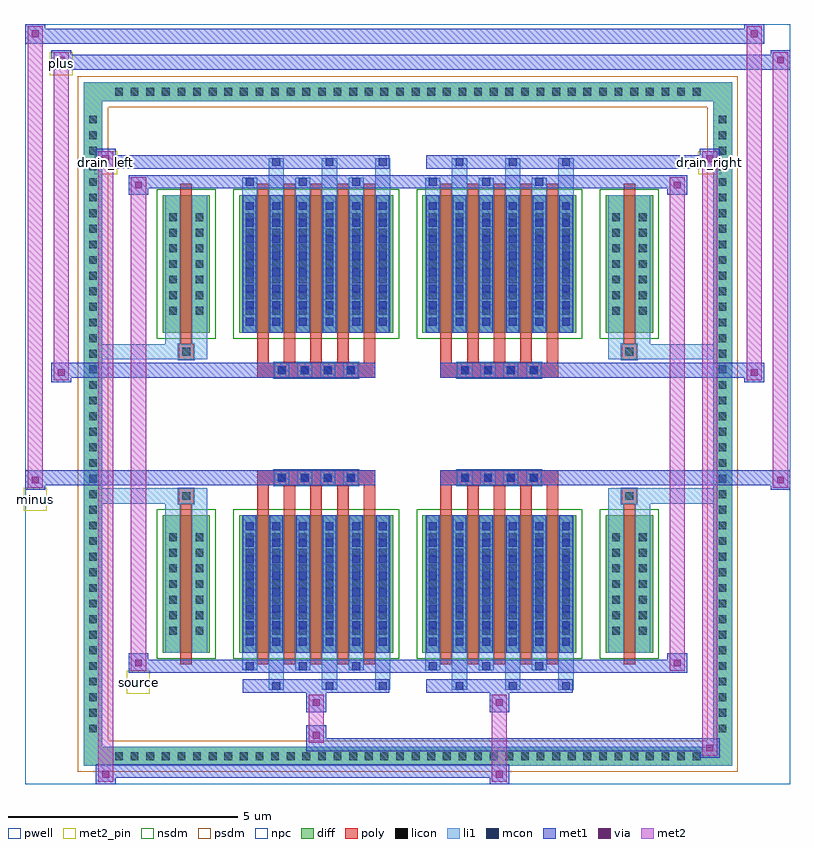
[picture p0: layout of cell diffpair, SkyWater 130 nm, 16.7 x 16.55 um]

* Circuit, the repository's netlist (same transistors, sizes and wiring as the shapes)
* NGSPICE file created from diffpair.ext - technology: sky130A

.subckt diffpair minus drain_right drain_left source plus
X0 source plus drain_left a_n1412_n1488# sky130_fd_pr__nfet_01v8 ad=0.495 pd=3.33 as=0.495 ps=3.33 w=3 l=0.25
X1 source plus drain_left a_n1412_n1488# sky130_fd_pr__nfet_01v8 ad=0.495 pd=3.33 as=0.495 ps=3.33 w=3 l=0.25
X2 source minus drain_right a_n1412_n1488# sky130_fd_pr__nfet_01v8 ad=0.495 pd=3.33 as=0.495 ps=3.33 w=3 l=0.25
X3 source minus drain_right a_n1412_n1488# sky130_fd_pr__nfet_01v8 ad=0.495 pd=3.33 as=0.495 ps=3.33 w=3 l=0.25
X4 drain_left plus source a_n1412_n1488# sky130_fd_pr__nfet_01v8 ad=1.17 pd=6.78 as=0.495 ps=3.33 w=3 l=0.25
X5 source plus drain_left a_n1412_n1488# sky130_fd_pr__nfet_01v8 ad=0.495 pd=3.33 as=0.495 ps=3.33 w=3 l=0.25
X6 a_n1412_n1488# a_n1412_n1488# a_n1412_n1488# a_n1412_n1488# sky130_fd_pr__nfet_01v8 ad=1.17 pd=6.78 as=9.36 ps=54.24 w=3 l=0.25
X7 drain_left plus source a_n1412_n1488# sky130_fd_pr__nfet_01v8 ad=1.17 pd=6.78 as=0.495 ps=3.33 w=3 l=0.25
X8 drain_left plus source a_n1412_n1488# sky130_fd_pr__nfet_01v8 ad=0.495 pd=3.33 as=1.17 ps=6.78 w=3 l=0.25
X9 drain_left plus source a_n1412_n1488# sky130_fd_pr__nfet_01v8 ad=0.495 pd=3.33 as=0.495 ps=3.33 w=3 l=0.25
X10 drain_left plus source a_n1412_n1488# sky130_fd_pr__nfet_01v8 ad=0.495 pd=3.33 as=1.17 ps=6.78 w=3 l=0.25
X11 drain_left plus source a_n1412_n1488# sky130_fd_pr__nfet_01v8 ad=0.495 pd=3.33 as=0.495 ps=3.33 w=3 l=0.25
X12 a_n1412_n1488# a_n1412_n1488# a_n1412_n1488# a_n1412_n1488# sky130_fd_pr__nfet_01v8 ad=1.17 pd=6.78 as=0 ps=0 w=3 l=0.25
X13 source plus drain_left a_n1412_n1488# sky130_fd_pr__nfet_01v8 ad=0.495 pd=3.33 as=0.495 ps=3.33 w=3 l=0.25
X14 drain_right minus source a_n1412_n1488# sky130_fd_pr__nfet_01v8 ad=0.495 pd=3.33 as=0.495 ps=3.33 w=3 l=0.25
X15 drain_right minus source a_n1412_n1488# sky130_fd_pr__nfet_01v8 ad=0.495 pd=3.33 as=1.17 ps=6.78 w=3 l=0.25
X16 source minus drain_right a_n1412_n1488# sky130_fd_pr__nfet_01v8 ad=0.495 pd=3.33 as=0.495 ps=3.33 w=3 l=0.25
X17 source minus drain_right a_n1412_n1488# sky130_fd_pr__nfet_01v8 ad=0.495 pd=3.33 as=0.495 ps=3.33 w=3 l=0.25
X18 drain_right minus source a_n1412_n1488# sky130_fd_pr__nfet_01v8 ad=0.495 pd=3.33 as=0.495 ps=3.33 w=3 l=0.25
X19 drain_right minus source a_n1412_n1488# sky130_fd_pr__nfet_01v8 ad=1.17 pd=6.78 as=0.495 ps=3.33 w=3 l=0.25
X20 a_n1412_n1488# a_n1412_n1488# a_n1412_n1488# a_n1412_n1488# sky130_fd_pr__nfet_01v8 ad=1.17 pd=6.78 as=0 ps=0 w=3 l=0.25
X21 a_n1412_n1488# a_n1412_n1488# a_n1412_n1488# a_n1412_n1488# sky130_fd_pr__nfet_01v8 ad=1.17 pd=6.78 as=0 ps=0 w=3 l=0.25
X22 drain_right minus source a_n1412_n1488# sky130_fd_pr__nfet_01v8 ad=0.495 pd=3.33 as=1.17 ps=6.78 w=3 l=0.25
X23 drain_right minus source a_n1412_n1488# sky130_fd_pr__nfet_01v8 ad=1.17 pd=6.78 as=0.495 ps=3.33 w=3 l=0.25
.ends

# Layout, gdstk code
import gdstk
lib = gdstk.Library(unit=1e-6, precision=5e-09)
def R(c, l, rs):  # rectangles x0, y0, x1, y1
    for r in rs: c.add(gdstk.rectangle(r[:2], r[2:], *l))
def A(c, l, x, y, w, h, nx, ny, dx, dy):  # array of equal rectangles
    R(c, l, [(x+i*dx, y+j*dy, x+i*dx+w, y+j*dy+h) for i in range(nx) for j in range(ny)])
def P(c, l, *ps):  # polygons
    for p in ps: c.add(gdstk.Polygon(p, *l))
pwell = (64, 44)
diff = (65, 20)
poly = (66, 20)
licon = (66, 44)
li1 = (67, 20)
mcon = (67, 44)
met1 = (68, 20)
via = (68, 44)
met2_pin = (69, 16)
met2 = (69, 20)
nsdm = (93, 44)
psdm = (94, 20)
npc = (95, 20)

diffpair = lib.new_cell('diffpair')
R(diffpair, pwell, [(-8.33,-7.84,8.33,8.71), (-5.65,-6.03,-0.01,-0.805), (0.01,-6.03,5.65,-0.805), (-5.65,0.805,-0.01,6.03), (0.01,0.805,5.65,6.03)])
A(diffpair, diff, -6.495, -7.44, 0.41, 0.41, 38, 2, 0.34, 14.47)
A(diffpair, diff, -7.06, -6.835, 0.41, 0.41, 1, 40, 0, 0.34)
A(diffpair, diff, 6.65, -6.835, 0.41, 0.41, 1, 40, 0, 0.34)
R(diffpair, diff, [(-6.495,-7.44,6.495,-7.03), (-7.06,-6.835,-6.65,6.835), (6.65,-6.835,7.06,6.835), (-5.34,-4.985,-4.31,-1.985), (-3.67,-4.985,-0.32,-1.985), (0.32,-4.985,3.67,-1.985), (4.31,-4.985,5.34,-1.985), (-5.34,1.985,-4.31,4.985), (-3.67,1.985,-0.32,4.985), (0.32,1.985,3.67,4.985), (4.31,1.985,5.34,4.985), (-6.495,7.03,6.495,7.44)])
P(diffpair, diff, [(7.06,7.44),(-7.06,7.44),(-7.06,-7.03),(-6.65,-7.03),(-6.65,7.03),(6.65,7.03),(6.65,-7.03),(-6.65,-7.03),(-7.06,-7.03),(-7.06,-7.44),(7.06,-7.44)])
A(diffpair, poly, -3.28, -5.235, 0.25, 3.5, 5, 2, 0.58, 6.97)
A(diffpair, poly, 0.71, -5.235, 0.25, 3.5, 5, 2, 0.58, 6.97)
A(diffpair, poly, -3.28, -1.735, 0.25, 0.4, 5, 2, 0.58, 3.07)
A(diffpair, poly, 0.71, -1.735, 0.25, 0.4, 5, 2, 0.58, 3.07)
A(diffpair, poly, -2.91, -1.335, 0.33, 0.33, 4, 2, 0.5, 2.34)
A(diffpair, poly, 1.08, -1.335, 0.33, 0.33, 4, 2, 0.5, 2.34)
R(diffpair, poly, [(-4.95,-5.235,-4.7,-1.735), (4.7,-5.235,4.95,-1.735), (-4.99,-1.735,-4.66,-1.405), (-4.99,-1.735,-4.66,-1.405), (4.66,-1.735,4.99,-1.405), (4.66,-1.735,4.99,-1.405), (-3.28,-1.335,-0.71,-1.005), (0.71,-1.335,3.28,-1.005), (-3.28,1.005,-0.71,1.335), (0.71,1.005,3.28,1.335), (-4.99,1.405,-4.66,1.735), (-4.99,1.405,-4.66,1.735), (4.66,1.405,4.99,1.735), (4.66,1.405,4.99,1.735), (-4.95,1.735,-4.7,5.235), (4.7,1.735,4.95,5.235)])
A(diffpair, licon, -6.375, -7.32, 0.17, 0.17, 38, 2, 0.34, 14.47)
A(diffpair, licon, -6.94, -6.715, 0.17, 0.17, 1, 40, 0, 0.34)
A(diffpair, licon, 6.77, -6.715, 0.17, 0.17, 1, 40, 0, 0.34)
A(diffpair, licon, -5.2, -4.59, 0.17, 0.17, 1, 7, 0, 0.34)
A(diffpair, licon, -4.62, -4.59, 0.17, 0.17, 1, 7, 0, 0.34)
A(diffpair, licon, -3.53, -4.59, 0.17, 0.17, 6, 7, 0.58, 0.34)
A(diffpair, licon, 0.46, -4.59, 0.17, 0.17, 6, 7, 0.58, 0.34)
A(diffpair, licon, 4.45, -4.59, 0.17, 0.17, 1, 7, 0, 0.34)
A(diffpair, licon, 5.03, -4.59, 0.17, 0.17, 1, 7, 0, 0.34)
A(diffpair, licon, -2.83, -1.255, 0.17, 0.17, 4, 2, 0.5, 2.34)
A(diffpair, licon, 1.16, -1.255, 0.17, 0.17, 4, 2, 0.5, 2.34)
A(diffpair, licon, -5.2, 2.38, 0.17, 0.17, 1, 7, 0, 0.34)
A(diffpair, licon, -4.62, 2.38, 0.17, 0.17, 1, 7, 0, 0.34)
A(diffpair, licon, -3.53, 2.38, 0.17, 0.17, 6, 7, 0.58, 0.34)
A(diffpair, licon, 0.46, 2.38, 0.17, 0.17, 6, 7, 0.58, 0.34)
A(diffpair, licon, 4.45, 2.38, 0.17, 0.17, 1, 7, 0, 0.34)
A(diffpair, licon, 5.03, 2.38, 0.17, 0.17, 1, 7, 0, 0.34)
R(diffpair, licon, [(-4.91,-1.655,-4.74,-1.485), (4.74,-1.655,4.91,-1.485), (-4.91,1.485,-4.74,1.655), (4.74,1.485,4.91,1.655)])
A(diffpair, li1, -6.455, -7.4, 0.33, 0.33, 38, 2, 0.34, 14.47)
A(diffpair, li1, -7.02, -6.795, 0.33, 0.33, 1, 40, 0, 0.34)
A(diffpair, li1, 6.69, -6.795, 0.33, 0.33, 1, 40, 0, 0.34)
A(diffpair, li1, -3.03, -5.79, 0.33, 0.805, 3, 2, 1.16, 10.775)
A(diffpair, li1, -2.95, -5.79, 0.17, 0.17, 3, 2, 1.16, 11.41)
A(diffpair, li1, 0.96, -5.79, 0.33, 0.805, 3, 2, 1.16, 10.775)
A(diffpair, li1, 1.04, -5.79, 0.17, 0.17, 3, 2, 1.16, 11.41)
A(diffpair, li1, -3.61, -5.36, 0.33, 0.375, 3, 2, 1.16, 10.345)
A(diffpair, li1, -3.53, -5.36, 0.17, 0.17, 3, 2, 1.16, 10.55)
A(diffpair, li1, 0.38, -5.36, 0.33, 0.375, 3, 2, 1.16, 10.345)
A(diffpair, li1, 0.46, -5.36, 0.17, 0.17, 3, 2, 1.16, 10.55)
A(diffpair, li1, -3.61, -4.985, 0.33, 3, 6, 2, 0.58, 6.97)
A(diffpair, li1, 0.38, -4.985, 0.33, 3, 6, 2, 0.58, 6.97)
A(diffpair, li1, -3.53, -4.83, 0.17, 0.17, 6, 8, 0.58, 0.36)
A(diffpair, li1, -3.53, -4.83, 0.17, 2.69, 6, 2, 0.58, 6.97)
A(diffpair, li1, 0.46, -4.83, 0.17, 0.17, 6, 8, 0.58, 0.36)
A(diffpair, li1, 0.46, -4.83, 0.17, 2.69, 6, 2, 0.58, 6.97)
A(diffpair, li1, -5.28, -4.67, 0.33, 0.33, 1, 7, 0, 0.34)
A(diffpair, li1, -4.7, -4.67, 0.33, 0.33, 1, 7, 0, 0.34)
A(diffpair, li1, -3.61, -4.67, 0.33, 0.33, 6, 7, 0.58, 0.34)
A(diffpair, li1, 0.38, -4.67, 0.33, 0.33, 6, 7, 0.58, 0.34)
A(diffpair, li1, 4.37, -4.67, 0.33, 0.33, 1, 7, 0, 0.34)
A(diffpair, li1, 4.95, -4.67, 0.33, 0.33, 1, 7, 0, 0.34)
A(diffpair, li1, -2.91, -1.335, 0.33, 0.33, 4, 2, 0.5, 2.34)
A(diffpair, li1, 1.08, -1.335, 0.33, 0.33, 4, 2, 0.5, 2.34)
A(diffpair, li1, -3.53, 2.14, 0.17, 0.17, 6, 8, 0.58, 0.36)
A(diffpair, li1, 0.46, 2.14, 0.17, 0.17, 6, 8, 0.58, 0.36)
A(diffpair, li1, -5.28, 2.3, 0.33, 0.33, 1, 7, 0, 0.34)
A(diffpair, li1, -4.7, 2.3, 0.33, 0.33, 1, 7, 0, 0.34)
A(diffpair, li1, -3.61, 2.3, 0.33, 0.33, 6, 7, 0.58, 0.34)
A(diffpair, li1, 0.38, 2.3, 0.33, 0.33, 6, 7, 0.58, 0.34)
A(diffpair, li1, 4.37, 2.3, 0.33, 0.33, 1, 7, 0, 0.34)
A(diffpair, li1, 4.95, 2.3, 0.33, 0.33, 1, 7, 0, 0.34)
R(diffpair, li1, [(-7.06,-7.44,-6.65,-7.03), (-7.06,-7.44,-6.65,-7.03), (-6.65,-7.44,6.65,-7.03), (6.65,-7.44,7.06,-7.03), (6.65,-7.44,7.06,-7.03), (-7.06,-7.03,-6.65,7.03), (6.65,-7.03,7.06,7.03), (-5.28,-4.985,-4.95,-1.985), (-4.7,-4.985,-4.37,-1.985), (4.37,-4.985,4.7,-1.985), (4.95,-4.985,5.28,-1.985), (-5.28,-1.985,-4.95,-1.405), (-4.7,-1.985,-4.37,-1.405), (4.37,-1.985,4.7,-1.405), (4.95,-1.985,5.28,-1.405), (-7.06,-1.735,-4.99,-1.405), (-5.28,-1.735,-4.99,-1.405), (-4.99,-1.735,-4.66,-1.405), (-4.66,-1.735,-4.37,-1.405), (4.37,-1.735,4.66,-1.405), (4.66,-1.735,4.99,-1.405), (4.66,-1.735,7.06,-1.405), (4.99,-1.735,5.28,-1.405), (-7.06,1.405,-4.99,1.735), (-5.28,1.405,-4.99,1.735), (-5.28,1.405,-4.95,1.985), (-4.99,1.405,-4.66,1.735), (-4.7,1.405,-4.37,1.985), (-4.66,1.405,-4.37,1.735), (4.37,1.405,4.66,1.735), (4.37,1.405,4.7,1.985), (4.66,1.405,4.99,1.735), (4.66,1.405,7.06,1.735), (4.95,1.405,5.28,1.985), (4.99,1.405,5.28,1.735), (-5.28,1.985,-4.95,4.985), (-4.7,1.985,-4.37,4.985), (4.37,1.985,4.7,4.985), (4.95,1.985,5.28,4.985), (-7.06,7.03,-6.65,7.44), (-7.06,7.03,-6.65,7.44), (-6.65,7.03,6.65,7.44), (6.65,7.03,7.06,7.44), (6.65,7.03,7.06,7.44)])
A(diffpair, mcon, -2.95, -5.79, 0.17, 0.17, 3, 2, 1.16, 11.41)
A(diffpair, mcon, 1.04, -5.79, 0.17, 0.17, 3, 2, 1.16, 11.41)
A(diffpair, mcon, -3.53, -5.36, 0.17, 0.17, 3, 2, 1.16, 10.55)
A(diffpair, mcon, 0.46, -5.36, 0.17, 0.17, 3, 2, 1.16, 10.55)
A(diffpair, mcon, -3.53, -4.83, 0.17, 0.17, 6, 8, 0.58, 0.36)
A(diffpair, mcon, 0.46, -4.83, 0.17, 0.17, 6, 8, 0.58, 0.36)
A(diffpair, mcon, -2.83, -1.255, 0.17, 0.17, 4, 2, 0.5, 2.34)
A(diffpair, mcon, 1.16, -1.255, 0.17, 0.17, 4, 2, 0.5, 2.34)
A(diffpair, mcon, -3.53, 2.14, 0.17, 0.17, 6, 8, 0.58, 0.36)
A(diffpair, mcon, 0.46, 2.14, 0.17, 0.17, 6, 8, 0.58, 0.36)
A(diffpair, met1, -3.01, -5.85, 0.29, 0.29, 3, 2, 1.16, 11.41)
A(diffpair, met1, 0.98, -5.85, 0.29, 0.29, 3, 2, 1.16, 11.41)
A(diffpair, met1, -3.59, -5.42, 0.29, 0.29, 3, 2, 1.16, 10.55)
A(diffpair, met1, 0.4, -5.42, 0.29, 0.29, 3, 2, 1.16, 10.55)
A(diffpair, met1, -3.59, -4.985, 0.29, 3, 6, 2, 0.58, 6.97)
A(diffpair, met1, 0.4, -4.985, 0.29, 3, 6, 2, 0.58, 6.97)
A(diffpair, met1, -3.59, -4.89, 0.29, 0.29, 6, 8, 0.58, 0.36)
A(diffpair, met1, 0.4, -4.89, 0.29, 0.29, 6, 8, 0.58, 0.36)
A(diffpair, met1, -2.89, -1.315, 0.29, 0.29, 4, 2, 0.5, 2.34)
A(diffpair, met1, 1.1, -1.315, 0.29, 0.29, 4, 2, 0.5, 2.34)
A(diffpair, met1, -3.59, 2.08, 0.29, 0.29, 6, 8, 0.58, 0.36)
A(diffpair, met1, 0.4, 2.08, 0.29, 0.29, 6, 8, 0.58, 0.36)
R(diffpair, met1, [(-6.79,-7.84,-6.36,-7.41), (1.78,-7.84,2.21,-7.41), (-6.79,-7.7,2.21,-7.41), (6.36,-7.27,6.79,-6.84), (-2.21,-7.13,6.79,-6.84), (-2.21,-6.99,-1.78,-6.56), (-2.21,-6.28,-1.78,-5.85), (1.78,-6.28,2.21,-5.85), (-3.59,-5.85,-0.4,-5.56), (0.4,-5.85,3.59,-5.56), (-6.08,-5.42,-5.65,-4.99), (-6.08,-5.42,-3.59,-5.13), (-3.59,-5.42,-0.4,-5.13), (-0.4,-5.42,0.4,-5.13), (0.4,-5.42,3.59,-5.13), (3.59,-5.42,6.08,-5.13), (5.65,-5.42,6.08,-4.99), (-8.33,-1.435,-7.9,-1.005), (7.9,-1.435,8.33,-1.005), (-8.33,-1.335,-0.71,-1.005), (-3.28,-1.335,-0.71,-1.005), (0.71,-1.335,3.28,-1.005), (0.71,-1.335,8.33,-1.005), (-7.76,0.905,-7.33,1.335), (7.33,0.905,7.76,1.335), (-7.76,1.005,-3.28,1.335), (-3.28,1.005,-0.71,1.335), (0.71,1.005,3.28,1.335), (3.28,1.005,7.76,1.335), (-6.08,4.99,-5.65,5.42), (5.65,4.99,6.08,5.42), (-6.08,5.13,-3.59,5.42), (-3.59,5.13,-0.4,5.42), (-0.4,5.13,0.4,5.42), (0.4,5.13,3.59,5.42), (3.59,5.13,6.08,5.42), (-6.79,5.56,-6.36,5.99), (-6.79,5.56,-3.59,5.85), (-3.59,5.56,-0.4,5.85), (0.4,5.56,3.59,5.85), (3.59,5.56,6.79,5.85), (6.36,5.56,6.79,5.99), (-7.76,7.71,-7.33,8.14), (-7.76,7.71,-5.65,8.04), (-5.65,7.71,5.65,8.04), (5.65,7.71,8.33,8.04), (7.9,7.71,8.33,8.14), (-8.33,8.28,-7.9,8.71), (-8.33,8.28,-5.65,8.61), (-5.65,8.28,5.65,8.61), (5.65,8.28,7.76,8.61), (7.33,8.28,7.76,8.71)])
R(diffpair, via, [(-6.65,-7.7,-6.5,-7.55), (1.92,-7.7,2.07,-7.55), (6.5,-7.13,6.65,-6.98), (-2.07,-6.85,-1.92,-6.7), (-2.07,-6.14,-1.92,-5.99), (1.92,-6.14,2.07,-5.99), (-5.94,-5.28,-5.79,-5.13), (5.79,-5.28,5.94,-5.13), (-8.19,-1.295,-8.04,-1.145), (8.04,-1.295,8.19,-1.145), (-7.62,1.045,-7.47,1.195), (7.47,1.045,7.62,1.195), (-5.94,5.13,-5.79,5.28), (5.79,5.13,5.94,5.28), (-6.65,5.7,-6.5,5.85), (6.5,5.7,6.65,5.85), (-7.62,7.85,-7.47,8), (8.04,7.85,8.19,8), (-8.19,8.42,-8.04,8.57), (7.47,8.42,7.62,8.57)])
R(diffpair, met2_pin, [(-6.115,-5.87,-5.615,-5.37), (-8.365,-1.885,-7.865,-1.385), (-6.825,5.44,-6.325,5.94), (6.325,5.44,6.825,5.94), (-7.795,7.59,-7.295,8.09)])
R(diffpair, met2, [(-6.74,-7.79,-6.41,-7.46), (-6.74,-7.79,-6.41,5.94), (1.83,-7.79,2.16,-7.46), (1.83,-7.46,2.16,-6.23), (6.41,-7.22,6.74,-6.89), (6.41,-7.22,6.74,5.94), (-2.16,-6.94,-1.83,-6.61), (-2.16,-6.61,-1.83,-6.23), (-2.16,-6.23,-1.83,-5.9), (1.83,-6.23,2.16,-5.9), (-6.03,-5.37,-5.7,-5.04), (-6.03,-5.37,-5.7,5.37), (5.7,-5.37,6.03,-5.04), (5.7,-5.37,6.03,5.37), (-8.28,-1.385,-7.95,-1.055), (-8.28,-1.385,-7.95,8.66), (7.95,-1.385,8.28,-1.055), (7.95,-1.385,8.28,8.09), (-7.71,0.955,-7.38,1.285), (-7.71,0.955,-7.38,8.09), (7.38,0.955,7.71,1.285), (7.38,0.955,7.71,8.66), (-6.03,5.04,-5.7,5.37), (5.7,5.04,6.03,5.37), (-6.74,5.61,-6.41,5.94), (6.41,5.61,6.74,5.94), (-7.71,7.76,-7.38,8.09), (7.95,7.76,8.28,8.09), (-8.28,8.33,-7.95,8.66), (7.38,8.33,7.71,8.66)])
P(diffpair, met2, [(8.28,-1.385),(8.28,-1.385),(8.28,-1.055),(8.28,-1.055)],
  [(8.28,7.76),(8.28,7.76),(8.28,8.09),(8.28,8.09)],
  [(-7.95,-1.385),(-7.95,-1.385),(-7.95,-1.055),(-7.95,-1.055)],
  [(-7.95,8.33),(-7.95,8.33),(-7.95,8.66),(-7.95,8.66)],
  [(7.71,0.955),(7.71,0.955),(7.71,1.285),(7.71,1.285)],
  [(7.71,8.33),(7.71,8.33),(7.71,8.66),(7.71,8.66)],
  [(-7.38,0.955),(-7.38,0.955),(-7.38,1.285),(-7.38,1.285)],
  [(-7.38,7.76),(-7.38,7.76),(-7.38,8.09),(-7.38,8.09)],
  [(-6.41,-7.79),(-6.41,-7.79),(-6.41,-7.46),(-6.41,-7.46)],
  [(-6.41,5.61),(-6.41,5.61),(-6.41,5.94),(-6.41,5.94)],
  [(6.74,-7.22),(6.74,-7.22),(6.74,-6.89),(6.74,-6.89)],
  [(6.74,5.61),(6.74,5.61),(6.74,5.94),(6.74,5.94)],
  [(-5.7,-5.37),(-5.7,-5.37),(-5.7,-5.04),(-5.7,-5.04)],
  [(-5.7,5.04),(-5.7,5.04),(-5.7,5.37),(-5.7,5.37)],
  [(6.03,-5.37),(6.03,-5.37),(6.03,-5.04),(6.03,-5.04)],
  [(6.03,5.04),(6.03,5.04),(6.03,5.37),(6.03,5.37)])
R(diffpair, nsdm, [(-5.47,-5.115,-4.18,-1.855), (-3.8,-5.115,-0.19,-1.855), (0.19,-5.115,3.8,-1.855), (4.18,-5.115,5.47,-1.855), (-5.47,1.855,-4.18,5.115), (-3.8,1.855,-0.19,5.115), (0.19,1.855,3.8,5.115), (4.18,1.855,5.47,5.115)])
P(diffpair, psdm, [(7.19,7.57),(-7.19,7.57),(-7.19,-6.9),(-6.52,-6.9),(-6.52,6.9),(6.52,6.9),(6.52,-6.9),(-6.52,-6.9),(-7.19,-6.9),(-7.19,-7.57),(7.19,-7.57)])
A(diffpair, npc, -2.93, -1.355, 0.37, 0.37, 4, 2, 0.5, 2.34)
A(diffpair, npc, 1.06, -1.355, 0.37, 0.37, 4, 2, 0.5, 2.34)
R(diffpair, npc, [(-5.01,-1.755,-4.64,-1.385), (4.64,-1.755,5.01,-1.385), (-2.93,-1.355,-2.06,-0.985), (-2.93,-1.355,-2.06,-0.985), (-2.43,-1.355,-1.56,-0.985), (-2.43,-1.355,-1.56,-0.985), (-1.93,-1.355,-1.06,-0.985), (-1.93,-1.355,-1.06,-0.985), (1.06,-1.355,1.93,-0.985), (1.06,-1.355,1.93,-0.985), (1.56,-1.355,2.43,-0.985), (1.56,-1.355,2.43,-0.985), (2.06,-1.355,2.93,-0.985), (2.06,-1.355,2.93,-0.985), (-2.93,0.985,-2.06,1.355), (-2.93,0.985,-2.06,1.355), (-2.43,0.985,-1.56,1.355), (-2.43,0.985,-1.56,1.355), (-1.93,0.985,-1.06,1.355), (-1.93,0.985,-1.06,1.355), (1.06,0.985,1.93,1.355), (1.06,0.985,1.93,1.355), (1.56,0.985,2.43,1.355), (1.56,0.985,2.43,1.355), (2.06,0.985,2.93,1.355), (2.06,0.985,2.93,1.355), (-5.01,1.385,-4.64,1.755), (4.64,1.385,5.01,1.755)])
diffpair.add(gdstk.Label('minus', (-8.115,-1.635), layer=69, texttype=5))
diffpair.add(gdstk.Label('drain_right', (6.575,5.69), layer=69, texttype=5))
diffpair.add(gdstk.Label('drain_left', (-6.575,5.69), layer=69, texttype=5))
diffpair.add(gdstk.Label('source', (-5.865,-5.62), layer=69, texttype=5))
diffpair.add(gdstk.Label('plus', (-7.545,7.84), layer=69, texttype=5))

lib.write_gds('diffpair.gds')
